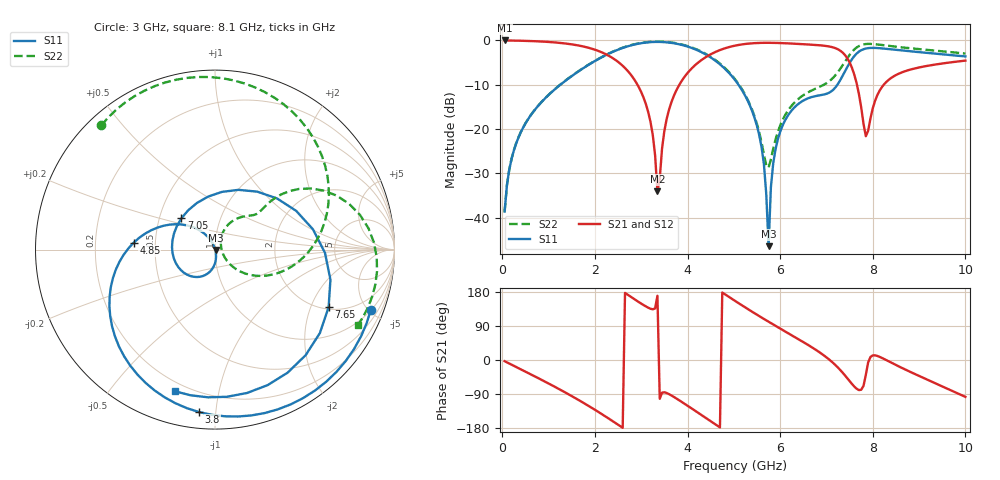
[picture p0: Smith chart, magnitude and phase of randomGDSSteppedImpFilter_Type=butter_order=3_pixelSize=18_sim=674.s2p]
! freq	dB(S11)	phase(S11)	dB(S12)	phase(S12)
!  dB(S21)	phase(S21)	dB(S22)	phase(S22)
!S-par simulation data
#  GHz  S  DB  R 50
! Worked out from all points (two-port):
!   200 points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, 50 MHz to 10 GHz, reference 50 ohm
!   highest |S21| = -0.01 dB at 50 MHz (marker M1); lowest = -34.1 dB at 3.35 GHz (marker M2)
!   |S21| within 3 dB of the highest: start of sweep to 2.215 GHz; 4.523 GHz to 7.373 GHz (2.85 GHz wide, 47.9 % of centre)
!   lowest |S11| = -46.5 dB at 5.75 GHz (marker M3), VSWR 1.01, Z = 50.4 - j0.262 ohm
!   |S11| at or under -10 dB: start of sweep to 1.254 GHz; 5.099 GHz to 7.236 GHz (2.136 GHz wide, 34.6 % of centre)
!   |S22| runs from -38.7 to -0.3 dB; largest |S21 - S12| = 0
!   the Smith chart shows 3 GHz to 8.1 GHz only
!   S11 on the Smith chart (normalised r, x): 3 GHz: 1.03, -5.17; 3.8 GHz: 0.09, -0.90; 4.85 GHz: 0.37, +0.04; 7.05 GHz: 0.65, +0.24; 7.65 GHz: 2.09, -2.70; 8.1 GHz: 0.15, -0.74
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0.05  -38.65 -94.3  -0.01 -3.1  -0.01 -3.1  -38.72 -90.6
0.45  -19.69 -132.1  -0.08 -27.6  -0.08 -27.6  -19.65 -104.1
1.75  -6.25 103.6  -1.37 -112.9  -1.37 -112.9  -6.22 -151.4
2.35  -2.75 43.7  -3.77 -158.6  -3.77 -158.6  -2.70 176.4
3  -0.62 -21.1  -11.67 148.7  -11.67 148.7  -0.55 132.5
3.35  -0.33 -54.6  -34.11 169.5  -34.11 169.5  -0.25 106.6
3.4  -0.34 -59.2  -31.22 -102.4  -31.22 -102.4  -0.26 102.8
3.8  -0.82 -95.6  -10.44 -104.7  -10.44 -104.7  -0.73 72.2
4.85  -6.84 175.2  -1.64 170.0  -1.64 170.0  -6.67 -9.0
5.05  -9.28 159.1  -1.13 154.1  -1.13 154.1  -9.09 -23.3
5.55  -21.45 119.9  -0.56 115.7  -0.56 115.7  -20.83 -42.9
5.75  -46.47 -33.1  -0.54 101.0  -0.54 101.0  -28.72 21.0
5.95  -22.33 -90.0  -0.57 86.6  -0.57 86.6  -20.66 64.7
6.7  -12.73 -161.2  -0.98 32.4  -0.98 32.4  -11.20 43.6
7.05  -11.85 137.0  -1.35 2.1  -1.35 2.1  -9.29 40.5
7.4  -6.98 39.6  -3.30 -40.7  -3.30 -40.7  -4.78 35.9
7.65  -2.98 -26.9  -9.62 -75.7  -9.62 -75.7  -1.61 13.4
7.85  -1.83 -68.8  -21.64 -39.2  -21.64 -39.2  -0.81 -7.6
8.1  -1.72 -105.9  -12.32 10.6  -12.32 10.6  -0.91 -27.9
8.35  -1.96 -132.9  -8.84 -3.9  -8.84 -3.9  -1.23 -42.9
9.1  -2.74 166.3  -5.89 -47.6  -5.89 -47.6  -2.06 -75.9
10  -3.60 94.9  -4.56 -97.4  -4.56 -97.4  -2.96 -105.9
